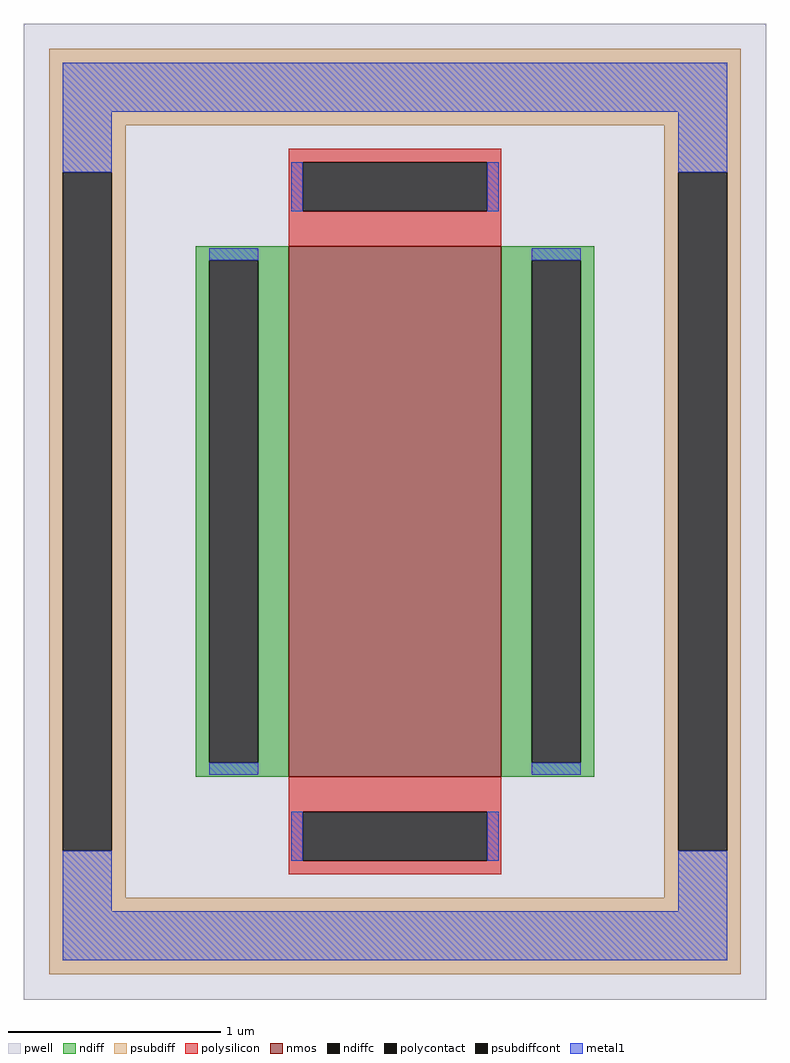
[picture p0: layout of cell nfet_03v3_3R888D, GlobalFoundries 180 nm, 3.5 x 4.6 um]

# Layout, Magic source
magic
tech gf180mcuD
magscale 1 10
<< pwell >>
rect -350 -460 350 460
<< nmos >>
rect -100 -250 100 250
<< ndiff >>
rect -188 237 -100 250
rect -188 -237 -175 237
rect -129 -237 -100 237
rect -188 -250 -100 -237
rect 100 237 188 250
rect 100 -237 129 237
rect 175 -237 188 237
rect 100 -250 188 -237
<< ndiffc >>
rect -175 -237 -129 237
rect 129 -237 175 237
<< psubdiff >>
rect -326 364 326 436
rect -326 320 -254 364
rect -326 -320 -313 320
rect -267 -320 -254 320
rect 254 320 326 364
rect -326 -364 -254 -320
rect 254 -320 267 320
rect 313 -320 326 320
rect 254 -364 326 -320
rect -326 -436 326 -364
<< psubdiffcont >>
rect -313 -320 -267 320
rect 267 -320 313 320
<< polysilicon >>
rect -100 329 100 342
rect -100 283 -87 329
rect 87 283 100 329
rect -100 250 100 283
rect -100 -283 100 -250
rect -100 -329 -87 -283
rect 87 -329 100 -283
rect -100 -342 100 -329
<< polycontact >>
rect -87 283 87 329
rect -87 -329 87 -283
<< metal1 >>
rect -313 377 313 423
rect -313 320 -267 377
rect -98 283 -87 329
rect 87 283 98 329
rect 267 320 313 377
rect -175 237 -129 248
rect -175 -248 -129 -237
rect 129 237 175 248
rect 129 -248 175 -237
rect -313 -377 -267 -320
rect -98 -329 -87 -283
rect 87 -329 98 -283
rect 267 -377 313 -320
rect -313 -423 313 -377
<< properties >>
string FIXED_BBOX -290 -400 290 400
string gencell nfet_03v3
string library gf180mcu
string parameters w 2.5 l 1 m 1 nf 1 diffcov 100 polycov 100 guard 1 glc 1 grc 1 gtc 0 gbc 0 tbcov 100 rlcov 100 topc 1 botc 1 poverlap 0 doverlap 1 lmin 0.28 wmin 0.22 class mosfet full_metal 1 compatible {nfet_03v3 nfet_06v0 nfet_06v0_nvt}
<< end >>
